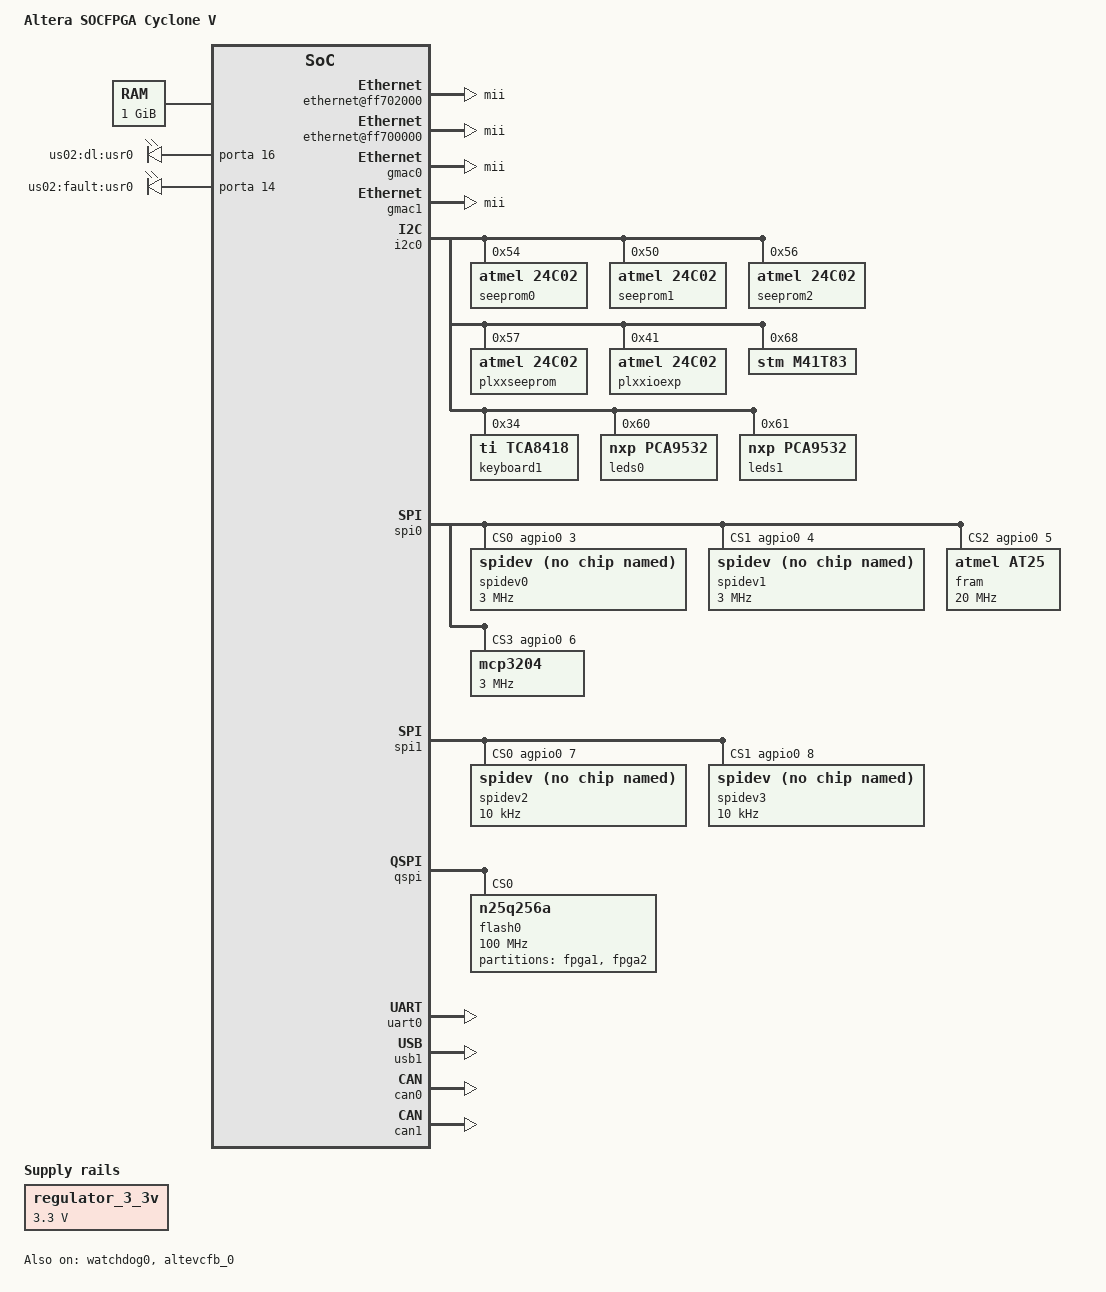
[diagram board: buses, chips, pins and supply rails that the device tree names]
/*
 * Copyright Altera Corporation (C) 2015. All rights reserved.
 *
 * This program is free software; you can redistribute it and/or modify
 * it under the terms and conditions of the GNU General Public License,
 * version 2, as published by the Free Software Foundation.
 *
 * This program is distributed in the hope it will be useful, but WITHOUT
 * ANY WARRANTY; without even the implied warranty of MERCHANTABILITY or
 * FITNESS FOR A PARTICULAR PURPOSE.  See the GNU General Public License for
 * more details.
 *
 * You should have received a copy of the GNU General Public License along with
 * this program.  If not, see <http://www.gnu.org/licenses/>.
 */

/dts-v1/;
/* First 4KB has trampoline code for secondary cores. */
/memreserve/ 0x00000000 0x0001000;
#include "socfpga.dtsi"

/ {
	soc {
		clkmgr@ffd04000 {
			clocks {
				osc1 {
					clock-frequency = <25000000>;
				};
			};
		};

		emmc: dwmmc0@ff704000 {
			num-slots = <1>;
			broken-cd;
			bus-width = <4>;
			cap-mmc-highspeed;
			cap-sd-highspeed;
		};

		sysmgr@ffd08000 {
			cpu1-start-addr = <0xffd080c4>;
		};

		scame {
			compatible = "scame";
			interrupt-parent = <&intc>;
			interrupts = <0 40 1>, <0 41 1>, <0 42 1>, <0 45 1>, <0 46 1>, <0 47 1>;
		};
	};
};

&watchdog0 {
	status = "okay";
};


/ {
	model = "Altera SOCFPGA Cyclone V";
	compatible = "altr,socfpga-cyclone5", "altr,socfpga";

	chosen {
		bootargs = "console=ttyS0,57600 hw_dispid=45";
	};

	memory {
		name = "memory";
		device_type = "memory";
		reg = <0x0 0x40000000>; /* 1GB */
	};

	aliases {
		ethernet0 = &gmac0;
		ethernet1 = &gmac1;
		mmc0 = &emmc;
		mmc1 = &ulti_sdc_0;
		serial0 = &uart0;
		/*serial1 = &uart1;*/
	};

	regulator_3_3v: 3-3-v-regulator {
		compatible = "regulator-fixed";
		regulator-name = "3.3V";
		regulator-min-microvolt = <3300000>;
		regulator-max-microvolt = <3300000>;
	};

	ulti_sdc_0: ulti_sdc@0xFF230000 {
		compatible = "EXOR,ulti_sdc-13.1", "EXOR,ulti_sdc-1.0", "exor,ulti_sdc-1.0", "sdhci-ultimmc";
		reg = < 0xFF230000 0x0000ffff >;
		interrupt-parent = <&intc>;
		interrupts = < 0 43 4 >;
	}; //end ulti_sdc@0x100030000 (ulti_sdc_0)

	altevcfb_0: altevcfb@0xff200000 {
		compatible = "exor,ultievcfb";
		reg = <0xff200000 0x00001fff>;
		initial-brightness = <25>;
		status = "okay";
	};
	
	ethernet@ff702000 {
		phy-mode = "mii";
		phy-addr = <0x05>;
		status = "okay";
		tx-fifo-depth = <16384>;
		rx-fifo-depth = <16384>;
		reset0 = <&agpio0 0 0>;
		reset1 = <&agpio0 1 0>;
	};

	ethernet@ff700000 {
		phy-mode = "mii";
		phy-addr = <0x07>;
		status = "okay";
	};
		
	agpio0: gpio@0xff210010 {
		compatible = "altr,pio-1.0";
		reg = <0xff210010 0x10>;
		interrupts = <0 44 4>;
		width=<32>;
		altr,interrupt_type = < 4 >;
		#gpio-cells = <2>;
		gpio-controller;
		#interrupt-cells = <1>;
		interrupt-controller;
	};	

	leds { 
		compatible = "gpio-leds";
		status = "okay";

		led@1 {
			label = "us02:dl:usr0";
			gpios = <&porta 16 0>;
			default-state = "on";
		};

		led@2 {
			label = "us02:fault:usr0";
			gpios = <&porta 14 0>;
			default-state = "off";
		};
	};

	/* ULTIBUZZ no longer required
	ultibuzz0: ultibuzz@0xff202000 {
		compatible = "exor,ultibuzz";
		reg = <0xff202000 0x20>;
		ref-freq=<25600000>;
		#pwm-cells = <3>;
	};

	beeper {
		compatible = "pwm-beeper";
		pwms = <&ultibuzz0 0 50000 0>;
	};
	*/

	working_hours {
		compatible = "working_hours";
		eeprom = <&seeprom0>;
		rtcnvram = <&m41t83>;
		status = "okay";
	};

	/*
	plxx0: plugin0 {
		compatible = "exor,plxx_manager";
		eeprom = <&plxxseeprom>;
		ioexp = <&plxxioexp>;
		sel-gpio = <&porta 26 0>;
		index = <0>;
		status = "okay";
	};

	plxx1: plugin1 {
		compatible = "exor,plxx_manager";
		eeprom = <&plxxseeprom>;
		ioexp = <&plxxioexp>;
		sel-gpio = <&porta 18 0>;
		index = <1>;
		status = "okay";
	};

	plxx2: plugin2 {
		compatible = "exor,plxx_manager";
		eeprom = <&plxxseeprom>;
		ioexp = <&plxxioexp>;
		sel-gpio = <&porta 15 0>;
		index = <2>;
		status = "okay";
	};

	plxx3: plugin3 {
		compatible = "exor,plxx_manager";
		eeprom = <&plxxseeprom>;
		ioexp = <&plxxioexp>;
		sel-gpio = <&portc 7 0>;
		index = <3>;
		status = "okay";
	};
	*/

};

&gmac0 {
	phy-mode = "mii";
	snps,phy-addr = <0x07>;
	status = "okay";
};

&gmac1 {
	phy-mode = "mii";
	snps,phy-addr = <0x05>;
	rxd0-skew-ps = <0>;
	rxd0-skew-ps = <0>;
	rxd1-skew-ps = <0>;
	rxd2-skew-ps = <0>;
	rxd3-skew-ps = <0>;
	txen-skew-ps = <0>;
	txc-skew-ps = <2600>;
	rxdv-skew-ps = <0>;
	rxc-skew-ps = <2000>;
	snps,max-mtu = <3800>;
	status = "okay";
};

&gpio0 {
	status = "okay";
};

&gpio1 {
	status = "okay";
};

&gpio2 {
	status = "okay";
};

&i2c0 {
	status = "okay";
	speed-mode = <0>;

	seeprom0:seeprom0@54 {
		compatible = "atmel,24c02";
		reg = <0x54>;
	};

	seeprom1:seeprom1@50 {
		compatible = "atmel,24c02";
		reg = <0x50>;
	};

	seeprom2:seeprom1@56 {
		compatible = "atmel,24c02";
		reg = <0x56>;
	};

	plxxseeprom:seeprom1@57 {
		compatible = "atmel,24c02";
		reg = <0x57>;
	};

	plxxioexp:ioexp1@41 {
		compatible = "atmel,24c02";
		reg = <0x41>;
	};
	
	m41t83:m41t83@68 {
		compatible = "stm,m41t83";
		reg = <0x68>;
	};

	keyboard1:tca8418@34 {
		compatible = "ti,tca8418";
		reg = <0x34>;
		
		/*   the interrupt is specified as: 				*/
		/*   The first cell is the GPIO number.				*/
		/*   The second cell is used to specify flags:		*/
		/*   bits[3:0] trigger type and level flags:		*/
		/*       1 = low-to-high edge triggered.			*/
		/*       2 = high-to-low edge triggered.			*/
		/*       4 = active high level-sensitive.			*/
		/*       8 = active low level-sensitive.			*/
		/**/
		interrupt-parent = <&intc>;
		#interrupt-cells = <1>;
		interrupt-controller;
		interrupts = <0 48 2>; /* gpio2_7 high-to-low edge */
		altr,interrupt_type = < 2 >;

		keypad,num-rows = <6>;
		keypad,num-columns = <4>;
		linux,keymap = <
			/* The 32-bit big endian cell is packed as: row << 24 | column << 16 | key-code */
			0x00000042 /* SILENCE BUZZER (F8) */
			0x00010002 /* KEY 1 */
			0x00020007 /* KEY 6 */
			0x00030067 /* KEY UP */

			0x0100003D /* RESET (F3) */
			0x01010003 /* KEY 2 */
			0x01020008 /* KEY 7 */
			0x0103006C /* KEY DOWN */

			0x0200003E /* SCROLL (F4) */
			0x02010004 /* KEY 3 */
			0x02020009 /* KEY 8 */
			0x0203006A /* KEY RIGHT */

			0x0300003F /* SILENCE SOUNDERS (F5) */
			0x03010005 /* KEY 4 */
			0x0302000A /* KEY 9 */
			0x03030069 /* KEY LEFT */

			0x04000040 /* DELAY OVERRIDE (F6) */
			0x04010006 /* KEY 5 */
			0x0402000B /* KEY 0 */
			0x0403003B /* F1 */
			
			0x05000041 /* EVACUATE (F7) */
			0x05010001 /* KEY ESC */
			0x0502001C /* KEY CR */
			0x05030000 /* KEY NONE */
		>;
	};  

	leds0:gpio@60 {
		compatible = "nxp,pca9532";
		gpio-controller;
		#gpio-cells = <2>;
		nxp,typecodes = <0x55555555>;
		nxp,statecodes = <0x00000000>;		
		reg = <0x60>;
		
		ld2 {
			label = "LD2";
			type = < 0x01 >; /* PCA9532_TYPE_LED */
			state = < 0x00 >; /* PCA9532_OFF */
		};

		ld3 {
			label = "LD3";
			type = < 0x01 >; /* PCA9532_TYPE_LED */
			state = < 0x00 >; /* PCA9532_OFF */
		};
	  
		ld4 {
			label = "LD4";
			type = < 0x01 >; /* PCA9532_TYPE_LED */
			state = < 0x00 >; /* PCA9532_OFF */
		};

		ld5 {
			label = "LD5";
			type = < 0x01 >; /* PCA9532_TYPE_LED */
			state = < 0x00 >; /* PCA9532_OFF */
		};

		ld6 {
			label = "LD6";
			type = < 0x01 >; /* PCA9532_TYPE_LED */
			state = < 0x00 >; /* PCA9532_OFF */
		};

		ld7 {
			label = "LD7";
			type = < 0x01 >; /* PCA9532_TYPE_LED */
			state = < 0x00 >; /* PCA9532_OFF */
		};

		ld8 {
			label = "LD8";
			type = < 0x01 >; /* PCA9532_TYPE_LED */
			state = < 0x00 >; /* PCA9532_OFF */
		};

		ld9 {
			label = "LD9";
			type = < 0x01 >; /* PCA9532_TYPE_LED */
			state = < 0x00 >; /* PCA9532_OFF */
		};

		ld10 {
			label = "LD10";
			type = < 0x01 >; /* PCA9532_TYPE_LED */
			state = < 0x00 >; /* PCA9532_OFF */
		};

		ld11 {
			label = "LD11";
			type = < 0x01 >; /* PCA9532_TYPE_LED */
			state = < 0x00 >; /* PCA9532_OFF */
		};

		ld12 {
			label = "LD12";
			type = < 0x01 >; /* PCA9532_TYPE_LED */
			state = < 0x00 >; /* PCA9532_OFF */
		};

		ld13 {
			label = "LD13";
			type = < 0x01 >; /* PCA9532_TYPE_LED */
			state = < 0x00 >; /* PCA9532_OFF */
		};

		ld14 {
			label = "LD14";
			type = < 0x01 >; /* PCA9532_TYPE_LED */
			state = < 0x00 >; /* PCA9532_OFF */
		};

		ld15 {
			label = "LD15";
			type = < 0x01 >; /* PCA9532_TYPE_LED */
			state = < 0x00 >; /* PCA9532_OFF */
		};

		ld16 {
			label = "LD16";
			type = < 0x01 >; /* PCA9532_TYPE_LED */
			state = < 0x00 >; /* PCA9532_OFF */
		};

		ld17 {
			label = "LD17";
			type = < 0x01 >; /* PCA9532_TYPE_LED */
			state = < 0x00 >; /* PCA9532_OFF */
		};
	};  
  
  	leds1:gpio@61 {
		compatible = "nxp,pca9532";
		gpio-controller;
		#gpio-cells = <2>;
		reg = <0x61>;

		ld18 {
			label = "LD18";
			type = < 0x01 >; /* PCA9532_TYPE_LED */
			state = < 0x00 >; /* PCA9532_OFF */
		};

		ld19 {
			label = "LD19";
			type = < 0x01 >; /* PCA9532_TYPE_LED */
			state = < 0x00 >; /* PCA9532_OFF */
		};

		ld20 {
			label = "LD20";
			type = < 0x01 >; /* PCA9532_TYPE_LED */
			state = < 0x00 >; /* PCA9532_OFF */
		};

		ld21 {
			label = "LD21";
			type = < 0x01 >; /* PCA9532_TYPE_LED */
			state = < 0x00 >; /* PCA9532_OFF */
		};

		ld22 {
			label = "LD22";
			type = < 0x01 >; /* PCA9532_TYPE_LED */
			state = < 0x00 >; /* PCA9532_OFF */
		};

		ld23 {
			label = "LD23";
			type = < 0x01 >; /* PCA9532_TYPE_LED */
			state = < 0x00 >; /* PCA9532_OFF */
		};
	};  
};

&spi0 {
	status = "okay";
	num-cs = <4>;
	bus-num = <0>;
	cs-gpios = <&agpio0 3 0>, <&agpio0 4 0>, <&agpio0 5 0>, <&agpio0 6 0>;

	spidev0: spi0@0 {
		compatible = "spidev";
		reg = <0>;
		spi-max-frequency = <3000000>;
	};

	spidev1: spi0@1 {
		compatible = "spidev";
		reg = <1>;
		spi-max-frequency = <3000000>;
	};

	fram: at25@2 {
		compatible = "atmel,at25", "st,m95256";
		reg = <2>;
		spi-max-frequency = <20000000>;
		pagesize = <64>;
		size = <65536>;
		address-width = <16>;
	};

	mcp3204: mcp3204@3 {
		compatible = "mcp3204";
		reg = <3>;
		spi-max-frequency = <3000000>;
	};
};

&spi1 {
	status = "okay";
	num-cs = <3>;
	bus-num = <1>;
	cs-gpios = <&agpio0 7 0>, <&agpio0 8 0>, <&agpio0 11 0>;

	spidev2: spi1@0 {
		compatible = "spidev";
		reg = <0>;
		/*spi-cpol;*/
		spi-cpha;
		spi-max-frequency = <10000>;
	};

	spidev3: spi1@1 {
		compatible = "spidev";
		reg = <1>;
		/*spi-cpol;*/
		spi-cpha;
		spi-max-frequency = <10000>;
	};
};

&qspi {
	status = "okay";
	flash0: n25q256a@0 {
		#address-cells = <1>;
		#size-cells = <1>;
		compatible = "n25q256a";
		reg = <0>;      /* chip select */
		spi-max-frequency = <100000000>;
		m25p,fast-read;
		page-size = <256>; 
		block-size = <16>; /* 2^16, 64KB */
		read-delay = <4>;  /* delay value in read data capture register */
		cdns,tshsl-ns = <50>;
		cdns,tsd2d-ns = <50>;
		cdns,tchsh-ns = <4>;
		cdns,tslch-ns = <4>;

		partition@qspi-fpga1 {
		/* 10MB for raw FPGA1 image. */
		label = "fpga1";
		reg = <0x0 0xa00000>;
		};

		partition@qspi-fpga2 {
		/* 10MB for raw FPGA2 image. */
		label = "fpga2";
		reg = <0xa00000 0xa00000>;
		};
	};
};

&uart0 {
	status = "okay";
	rts-gpio = <&porta 22 0>;
	//mode-gpio = <&porta 24 0>;
	//rxen-gpio = <&portb 23 0>;
	//rs485-rts-active-high;
};

&usb1 {
	status = "okay";
};

&can0 {
	status = "okay";
};

&can1 {
	status = "okay";
};

&emmc {
	vmmc-supply = <&regulator_3_3v>;
	vqmmc-supply = <&regulator_3_3v>;

	num-slots = <1>;
	supports-highspeed;
	broken-cd;
	altr,dw-mshc-ciu-div = <3>;
	altr,dw-mshc-sdr-timing = <0 3>;

	slot@0 {
		reg = <0>;
		bus-width = <4>;
	};
};

